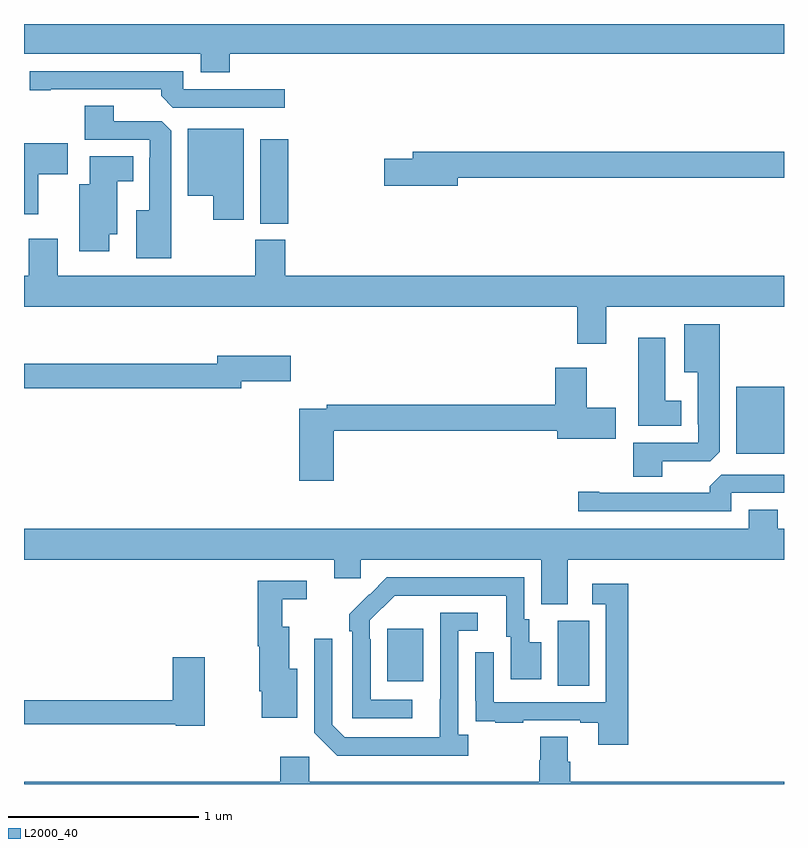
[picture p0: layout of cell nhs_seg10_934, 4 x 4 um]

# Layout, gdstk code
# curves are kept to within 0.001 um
import gdstk
lib = gdstk.Library(unit=1e-6, precision=1e-09)
def R(c, l, rs):  # rectangles x0, y0, x1, y1
    for r in rs: c.add(gdstk.rectangle(r[:2], r[2:], *l))
def P(c, l, *ps):  # polygons
    for p in ps: c.add(gdstk.Polygon(p, *l))
L2000_40 = (2000, 40)

nhs_seg10_934 = lib.new_cell('nhs_seg10_934')
R(nhs_seg10_934, L2000_40, [(161.81,1269.016,161.974,1269.36), (160.913,1269.041,161.101,1269.316), (162.749,1270.238,163,1270.591), (160.244,1271.449,160.391,1271.893)])
P(nhs_seg10_934, L2000_40, [(160.082,1272.344),(163,1272.344),(163,1272.5),(159,1272.5),(159,1272.344),(159.929,1272.344),(159.929,1272.245),(160.082,1272.245)],
  [(160.372,1272.156),(159.837,1272.156),(159.837,1272.252),(159.03,1272.252),(159.03,1272.151),(159.142,1272.151),(159.142,1272.156),(159.722,1272.156),(159.722,1272.122),(159.783,1272.06),(160.372,1272.06)],
  [(159.775,1271.939),(159.726,1271.988),(159.472,1271.988),(159.472,1272.071),(159.32,1272.071),(159.32,1271.892),(159.663,1271.892),(159.663,1271.795),(159.659,1271.795),(159.659,1271.521),(159.59,1271.521),(159.59,1271.267),(159.775,1271.267)],
  [(160.156,1271.95),(159.863,1271.95),(159.863,1271.597),(159.995,1271.597),(159.995,1271.469),(160.156,1271.469)],
  [(159.076,1271.71),(159.229,1271.71),(159.229,1271.872),(159,1271.872),(159,1271.499),(159.076,1271.499)],
  [(161.284,1271.692),(163,1271.692),(163,1271.828),(161.045,1271.828),(161.045,1271.792),(160.896,1271.792),(160.896,1271.65),(161.284,1271.65)],
  [(159.448,1271.393),(159.49,1271.393),(159.49,1271.672),(159.574,1271.672),(159.574,1271.803),(159.347,1271.803),(159.347,1271.656),(159.29,1271.656),(159.29,1271.304),(159.448,1271.304)],
  [(162.064,1271.012),(163,1271.012),(163,1271.176),(160.376,1271.176),(160.376,1271.364),(160.216,1271.364),(160.216,1271.176),(159.178,1271.176),(159.178,1271.371),(159.026,1271.371),(159.026,1271.176),(159,1271.176),(159,1271.012),(161.912,1271.012),(161.912,1270.818),(162.064,1270.818)],
  [(162.358,1270.2),(162.612,1270.2),(162.661,1270.249),(162.661,1270.921),(162.476,1270.921),(162.476,1270.667),(162.545,1270.667),(162.545,1270.393),(162.549,1270.393),(162.549,1270.296),(162.206,1270.296),(162.206,1270.117),(162.358,1270.117)],
  [(162.46,1270.516),(162.376,1270.516),(162.376,1270.849),(162.233,1270.849),(162.233,1270.385),(162.46,1270.385)],
  [(160.144,1270.619),(160.405,1270.619),(160.405,1270.753),(160.016,1270.753),(160.016,1270.711),(159,1270.711),(159,1270.582),(160.144,1270.582)],
  [(160.631,1270.36),(161.807,1270.36),(161.807,1270.316),(162.115,1270.316),(162.115,1270.479),(161.962,1270.479),(161.962,1270.69),(161.795,1270.69),(161.795,1270.496),(160.594,1270.496),(160.594,1270.476),(160.448,1270.476),(160.448,1270.095),(160.631,1270.095)],
  [(162.723,1270.032),(163,1270.032),(163,1270.128),(162.669,1270.128),(162.608,1270.066),(162.608,1270.032),(162.028,1270.032),(162.028,1270.037),(161.916,1270.037),(161.916,1269.936),(162.723,1269.936)],
  [(161.863,1269.68),(163,1269.68),(163,1269.844),(162.968,1269.844),(162.968,1269.943),(162.815,1269.943),(162.815,1269.844),(159,1269.844),(159,1269.68),(160.634,1269.68),(160.634,1269.582),(160.773,1269.582),(160.773,1269.68),(161.723,1269.68),(161.723,1269.445),(161.863,1269.445)],
  [(161.044,1268.943),(160.824,1268.943),(160.824,1269.263),(160.821,1269.263),(160.821,1269.363),(160.95,1269.492),(161.537,1269.492),(161.537,1269.276),(161.561,1269.276),(161.561,1269.051),(161.722,1269.051),(161.722,1269.247),(161.659,1269.247),(161.659,1269.366),(161.634,1269.366),(161.634,1269.588),(160.91,1269.588),(160.713,1269.393),(160.713,1269.305),(160.728,1269.305),(160.728,1268.847),(161.044,1268.847)],
  [(160.438,1269.106),(160.396,1269.106),(160.396,1269.328),(160.36,1269.328),(160.36,1269.473),(160.489,1269.473),(160.489,1269.57),(160.231,1269.57),(160.231,1269.224),(160.238,1269.224),(160.238,1268.988),(160.25,1268.988),(160.25,1268.849),(160.438,1268.849)],
  [(162.179,1269.553),(161.991,1269.553),(161.991,1269.447),(162.063,1269.447),(162.063,1268.931),(161.472,1268.931),(161.472,1269.193),(161.376,1269.193),(161.376,1268.938),(161.377,1268.938),(161.377,1268.829),(161.479,1268.829),(161.479,1268.823),(161.627,1268.823),(161.627,1268.835),(161.927,1268.835),(161.927,1268.823),(162.023,1268.823),(162.023,1268.706),(162.179,1268.706)],
  [(161.338,1268.758),(161.286,1268.758),(161.286,1269.306),(161.389,1269.306),(161.389,1269.402),(161.19,1269.402),(161.189,1268.745),(160.689,1268.745),(160.623,1268.811),(160.623,1269.265),(160.527,1269.265),(160.527,1268.769),(160.648,1268.648),(161.338,1268.648)],
  [(159.952,1269.166),(159.782,1269.166),(159.782,1268.942),(159,1268.942),(159,1268.814),(159.798,1268.814),(159.798,1268.806),(159.952,1268.806)],
  [(163,1268.512),(161.876,1268.512),(161.876,1268.618),(161.863,1268.618),(161.863,1268.75),(161.716,1268.75),(161.716,1268.625),(161.711,1268.625),(161.711,1268.512),(160.5,1268.512),(160.5,1268.644),(160.349,1268.644),(160.349,1268.512),(159,1268.512),(159,1268.5),(163,1268.5)])

lib.write_gds('nhs_seg10_934.gds')
